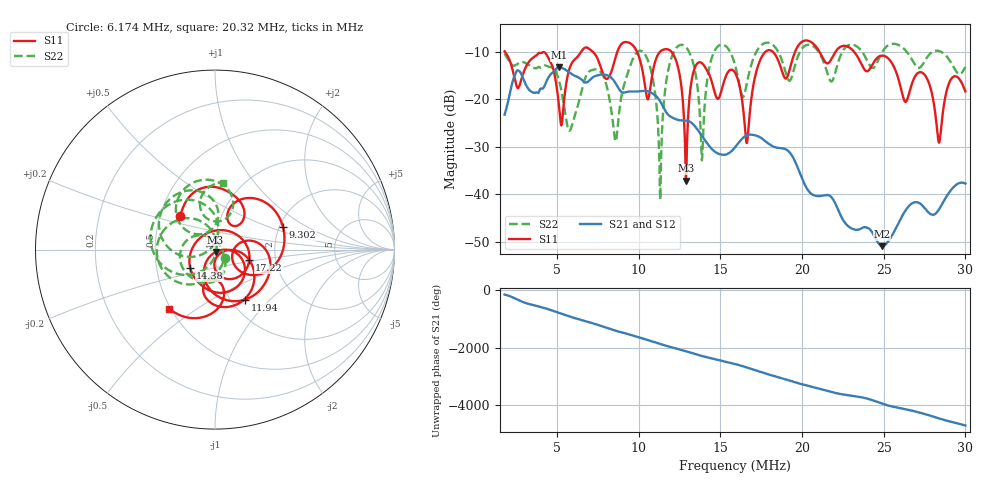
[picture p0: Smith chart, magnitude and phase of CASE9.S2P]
!Agilent Technologies,E5061B,MY49101568,A.02.00
!Date: Wed Mar 01 13:51:49 2023
!Data & Calibration Information:
!Freq	S11:SOLT2(OFF)	S21:SOLT2(OFF)	S12:SOLT2(OFF)	S22:SOLT2(OFF)
# Hz S dB R 50
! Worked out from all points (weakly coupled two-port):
!   1155 points, 1.8 MHz to 30 MHz, reference 50 ohm
!   highest |S21| = -13.26 dB at 5.123 MHz (marker M1); lowest = -50.9 dB at 24.89 MHz (marker M2)
!   lowest |S11| = -37.1 dB at 12.89 MHz (marker M3), VSWR 1.03, Z = 50.3 - j1.37 ohm
!   |S11| at or under -10 dB: 1.821 MHz to 6.483 MHz (4.662 MHz wide, 112 % of centre); 12.01 MHz to 17.76 MHz (5.749 MHz wide, 38.6 % of centre); 23.19 MHz to end of sweep (the widest 3 of 7)
!   |S22| runs from -41.1 to -8.1 dB; largest |S21 - S12| = 0.0026
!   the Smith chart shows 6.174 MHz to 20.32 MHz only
!   S11 on the Smith chart (normalised r, x): 6.174 MHz: 0.63, +0.25; 9.302 MHz: 2.09, +0.63; 11.94 MHz: 1.16, -0.72; 14.38 MHz: 0.74, -0.16; 17.22 MHz: 1.46, -0.18; 20.32 MHz: 0.49, -0.39
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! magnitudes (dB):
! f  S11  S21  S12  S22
! 1.8 MHz  -9.9  -23.2  -23.2  -10.4
! 5.123 MHz  -21.2  -13.3  -13.2  -16.0
! 6.174 MHz  -11.4  -15.2  -15.1  -22.6
! 6.516 MHz  -9.8  -15.9  -15.8  -18.1
! 7.714 MHz  -13.5  -14.8  -14.7  -14.4
! 8.593 MHz  -11.1  -16.6  -16.6  -28.8
! 9.302 MHz  -8.0  -18.4  -18.4  -14.8
! 10.5 MHz  -19.4  -18.3  -18.3  -11.2
! 11.21 MHz  -10.4  -19.9  -19.9  -26.9
! 11.94 MHz  -9.8  -23.6  -23.7  -12.0
! 12.89 MHz  -37.1  -24.5  -24.5  -9.0
! 13.87 MHz  -12.4  -27.7  -27.7  -32.8
! 14.38 MHz  -15.3  -30.1  -30.1  -12.4
! 15.9 MHz  -14.4  -30.1  -30.1  -12.8
! 16.61 MHz  -29.2  -27.6  -27.6  -16.9
! 17.22 MHz  -14.0  -27.6  -27.7  -9.9
! 20.32 MHz  -7.6  -38.9  -38.9  -8.5
! 20.62 MHz  -8.1  -40.0  -39.9  -8.7
! 24.89 MHz  -10.8  -50.9  -50.8  -10.2
! 25.31 MHz  -11.5  -49.7  -49.7  -8.6
! 28.39 MHz  -29.1  -43.1  -43.0  -9.8
! 30 MHz  -18.3  -37.7  -37.7  -13.2
